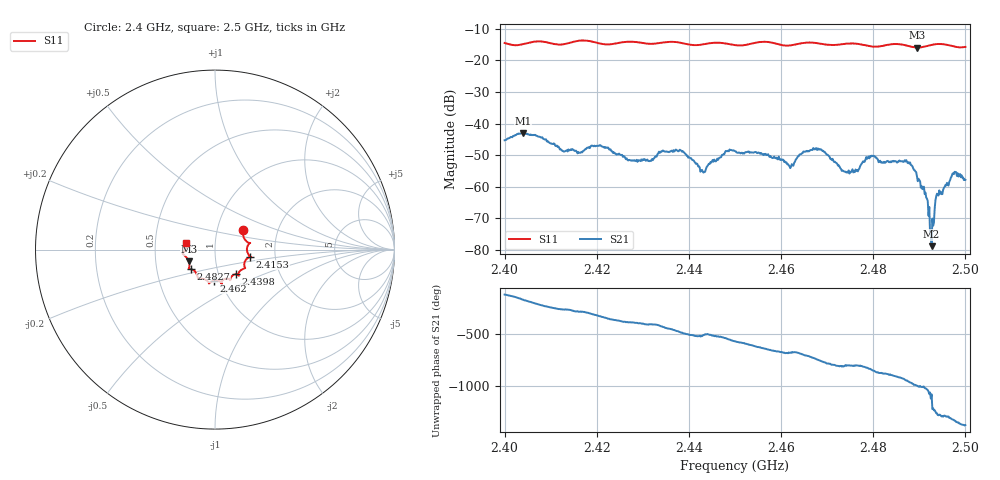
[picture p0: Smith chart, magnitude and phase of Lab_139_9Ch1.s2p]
# Hz S RI R 50
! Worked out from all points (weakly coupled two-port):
!   601 points, 2.4 GHz to 2.5 GHz, reference 50 ohm
!   highest |S21| = -42.96 dB at 2.404 GHz (marker M1); lowest = -78.8 dB at 2.4927 GHz (marker M2)
!   lowest |S11| = -15.9 dB at 2.4895 GHz (marker M3), VSWR 1.38, Z = 37 - j5.03 ohm
!   |S11| at or under -10 dB: start of sweep to end of sweep
!   S12 and S22 are empty: the file has one direction only
!   S11 on the Smith chart (normalised r, x): 2.4 GHz: 1.33, +0.29; 2.4153 GHz: 1.48, -0.12; 2.4398 GHz: 1.21, -0.34; 2.462 GHz: 0.93, -0.33; 2.4827 GHz: 0.75, -0.17; 2.5 GHz: 0.72, +0.06
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2.4e9  0.1556 0.1068  -0.00221 -0.00496  0 0  0 0
2.404e9  0.1746 0.0468  -0.00682 -0.00202  0 0  0 0
2.415333e9  0.1961 -0.0387  0.000546 0.00366  0 0  0 0
2.416667e9  0.2021 -0.0425  0.000761 0.00348  0 0  0 0
2.428333e9  0.1662 -0.104  0.00224 -0.0012  0 0  0 0
2.433333e9  0.1311 -0.1337  0.00211 -0.00264  0 0  0 0
2.439833e9  0.1158 -0.1366  -0.00224 -0.00182  0 0  0 0
2.443e9  0.0888 -0.1553  -0.00153 -0.000815  0 0  0 0
2.45e9  0.0648 -0.1621  -0.0032 0.00175  0 0  0 0
2.462e9  -0.00469 -0.1727  0.00148 0.00129  0 0  0 0
2.466667e9  -0.034 -0.1884  0.00382 -0.000336  0 0  0 0
2.474e9  -0.0884 -0.1607  0.000336 -0.00169  0 0  0 0
2.4795e9  -0.1062 -0.1285  -0.00151 -0.00259  0 0  0 0
2.482667e9  -0.135 -0.109  -0.00228 -0.000792  0 0  0 0
2.483333e9  -0.1401 -0.1087  -0.00243 -0.000443  0 0  0 0
2.4875e9  -0.1425 -0.0926  -0.00135 0.00194  0 0  0 0
2.4895e9  -0.1456 -0.0662  0.000205 0.00143  0 0  0 0
2.491333e9  -0.1609 -0.0414  0.000453 0.000667  0 0  0 0
2.492667e9  -0.1735 -0.0292  0.000114 -5.2e-06  0 0  0 0
2.494167e9  -0.1806 -0.0221  -0.000654 0.000313  0 0  0 0
2.4975e9  -0.1665 -0.00216  -0.000511 0.00149  0 0  0 0
2.5e9  -0.1592 0.0383  0.000666 0.0011  0 0  0 0
